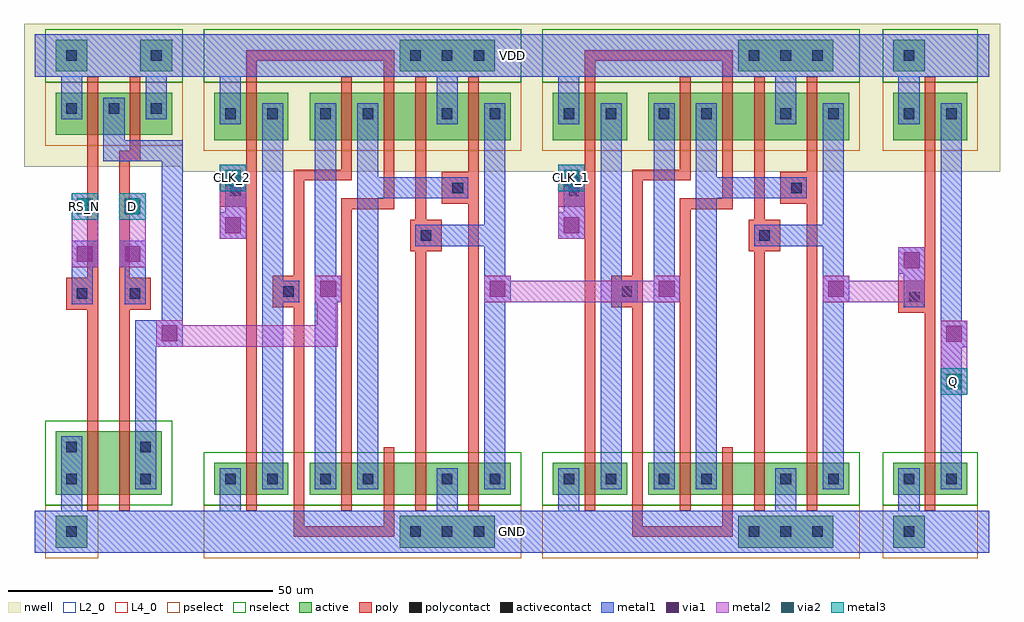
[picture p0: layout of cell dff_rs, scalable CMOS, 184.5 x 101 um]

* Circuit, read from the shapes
.subckt dff_rs CLK_1 CLK_2 D GND Q RS_N VDD
M1 n1 RS_N GND GND nfet w=12u l=2u
M2 latch_rs_1/D D n1 GND nfet w=12u l=2u
M3 n2 CLK_2 GND GND nfet w=6u l=2u
M4 n3 CLK_2 latch_rs_1/D GND nfet w=6u l=2u
M5 n4 n2 n3 GND nfet w=6u l=2u
M6 GND latch_rs_2/D n4 GND nfet w=6u l=2u
M7 latch_rs_2/D n3 GND GND nfet w=6u l=2u
M8 n5 CLK_1 GND GND nfet w=6u l=2u
M9 n6 CLK_1 latch_rs_2/D GND nfet w=6u l=2u
M10 n7 n5 n6 GND nfet w=6u l=2u
M11 GND latch_rs_2/Q n7 GND nfet w=6u l=2u
M12 latch_rs_2/Q n6 GND GND nfet w=6u l=2u
M13 Q latch_rs_2/Q GND GND nfet w=6u l=2u
M14 latch_rs_1/D RS_N VDD VDD pfet w=8u l=2u
M15 VDD D latch_rs_1/D VDD pfet w=8u l=2u
M16 n2 CLK_2 VDD VDD pfet w=9u l=2u
M17 n3 n2 latch_rs_1/D VDD pfet w=9u l=2u
M18 n8 CLK_2 n3 VDD pfet w=9u l=2u
M19 VDD latch_rs_2/D n8 VDD pfet w=9u l=2u
M20 latch_rs_2/D n3 VDD VDD pfet w=9u l=2u
M21 n5 CLK_1 VDD VDD pfet w=9u l=2u
M22 n6 n5 latch_rs_2/D VDD pfet w=9u l=2u
M23 n9 CLK_1 n6 VDD pfet w=9u l=2u
M24 VDD latch_rs_2/Q n9 VDD pfet w=9u l=2u
M25 latch_rs_2/Q n6 VDD VDD pfet w=9u l=2u
M26 Q latch_rs_2/Q VDD VDD pfet w=9u l=2u
.ends

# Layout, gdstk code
import gdstk
lib = gdstk.Library(unit=1e-6, precision=1e-09)
def R(c, l, rs):  # rectangles x0, y0, x1, y1
    for r in rs: c.add(gdstk.rectangle(r[:2], r[2:], *l))
def A(c, l, x, y, w, h, nx, ny, dx, dy):  # array of equal rectangles
    R(c, l, [(x+i*dx, y+j*dy, x+i*dx+w, y+j*dy+h) for i in range(nx) for j in range(ny)])
L2_0 = (2, 0)
L4_0 = (4, 0)
nwell = (42, 0)
active = (43, 0)
pselect = (44, 0)
nselect = (45, 0)
poly = (46, 0)
polycontact = (47, 0)
activecontact = (48, 0)
metal1 = (49, 0)
via1 = (50, 0)
metal2 = (51, 0)
via2 = (61, 0)
metal3 = (62, 0)

nand2 = lib.new_cell('nand2')
R(nand2, nwell, [(402,-492,436,-465)])
R(nand2, active, [(408,-564,414,-558), (408,-554,428,-548), (408,-548,428,-542), (408,-486,430,-484), (408,-484,430,-478), (408,-474,414,-468), (424,-474,430,-468)])
R(nand2, pselect, [(406,-566,416,-556), (406,-488,432,-476)])
R(nand2, nselect, [(406,-556,430,-540), (406,-476,432,-466)])
R(nand2, poly, [(414,-557,416,-545), (420,-557,422,-545), (410,-519,416,-513), (420,-519,426,-513), (414,-489,416,-475), (422,-489,424,-475)])
R(nand2, polycontact, [(412,-517,414,-515), (422,-517,424,-515)])
A(nand2, activecontact, 410, -482, 2, 2, 3, 1, 8, 0)
R(nand2, activecontact, [(410,-562,412,-560), (410,-552,412,-550), (424,-552,426,-550), (410,-546,412,-544), (424,-546,426,-544), (410,-472,412,-470), (426,-472,428,-470)])
A(nand2, metal1, 409, -483, 4, 4, 3, 1, 8, 0)
R(nand2, metal1, [(404,-565,434,-557), (409,-563,413,-559), (409,-553,413,-549), (423,-553,427,-549), (409,-547,413,-543), (423,-547,427,-543), (427,-526,432,-521), (411,-518,415,-514), (421,-518,425,-514), (411,-511,416,-506), (420,-511,425,-506), (404,-475,434,-467), (409,-473,413,-469), (425,-473,429,-469)])
R(nand2, via1, [(428,-525,431,-522), (412,-510,415,-507), (421,-510,424,-507)])
R(nand2, metal2, [(427,-526,432,-521), (411,-511,416,-506), (420,-511,425,-506)])
nand2.add(gdstk.FlexPath([(425,-543),(425,-521)], 4, ends="flush", simple_path=True, layer=49, datatype=0))  # metal1
nand2.add(gdstk.FlexPath([(430,-517),(430,-497)], 4, ends="flush", simple_path=True, layer=49, datatype=0))  # metal1
nand2.add(gdstk.FlexPath([(417,-489),(432,-489)], 4, ends="flush", simple_path=True, layer=49, datatype=0))  # metal1
nand2.add(gdstk.FlexPath([(419,-483),(419,-487)], 4, ends="flush", simple_path=True, layer=49, datatype=0))  # metal1
nand2.add(gdstk.FlexPath([(430,-491),(430,-497)], 4, ends="flush", simple_path=True, layer=49, datatype=0))  # metal1
nand2.add(gdstk.FlexPath([(423,-514),(423,-511)], 4, ends="flush", simple_path=True, layer=49, datatype=0))  # metal1
nand2.add(gdstk.FlexPath([(413,-514),(413,-511)], 4, ends="flush", simple_path=True, layer=49, datatype=0))  # metal1
nand2.add(gdstk.FlexPath([(411,-473),(411,-479)], 4, ends="flush", simple_path=True, layer=49, datatype=0))  # metal1
nand2.add(gdstk.FlexPath([(427,-473),(427,-479)], 4, ends="flush", simple_path=True, layer=49, datatype=0))  # metal1
nand2.add(gdstk.FlexPath([(430,-517),(430,-521)], 4, ends="flush", simple_path=True, layer=49, datatype=0))  # metal1
nand2.add(gdstk.FlexPath([(411,-553),(411,-559)], 4, ends="flush", simple_path=True, layer=49, datatype=0))  # metal1
nand2.add(gdstk.FlexPath([(425,-549),(425,-547)], 4, ends="flush", simple_path=True, layer=49, datatype=0))  # metal1
nand2.add(gdstk.FlexPath([(411,-549),(411,-547)], 4, ends="flush", simple_path=True, layer=49, datatype=0))  # metal1
nand2.add(gdstk.FlexPath([(415,-489),(415,-545)], 2, ends="flush", simple_path=True, layer=46, datatype=0))  # poly
nand2.add(gdstk.FlexPath([(421,-545),(421,-491)], 2, ends="flush", simple_path=True, layer=46, datatype=0))  # poly
nand2.add(gdstk.FlexPath([(420,-490),(424,-490)], 2, ends="flush", simple_path=True, layer=46, datatype=0))  # poly
nand2.add(gdstk.Label('VA', (413.5,-508.5), layer=51, texttype=0))
nand2.add(gdstk.Label('VB', (422.5,-508.5), layer=51, texttype=0))
nand2.add(gdstk.Label('VOUT', (429.5,-523.5), layer=51, texttype=0))
nand2.add(gdstk.Label('VDD', (419,-471), layer=49, texttype=0))
nand2.add(gdstk.Label('GND', (419,-561), layer=49, texttype=0))

latch_rs = lib.new_cell('latch_rs')
R(latch_rs, nwell, [(72,141.6,140,169.6)])
A(latch_rs, active, 113, 70.6, 6, 6, 3, 2, 6, 90)
R(latch_rs, active, [(78,80.6,92,86.6), (96,80.6,134,86.6), (78,147.6,92,150.6), (96,147.6,134,150.6), (78,150.6,92,156.6), (96,150.6,134,156.6)])
R(latch_rs, pselect, [(76,68.6,136,78.6), (76,145.6,94,158.6), (94,145.6,136,158.6)])
R(latch_rs, nselect, [(76,78.6,94,88.6), (94,78.6,136,88.6), (76,158.6,136,168.6)])
R(latch_rs, poly, [(84,77.6,86,89.6), (102,77.6,104,89.6), (110,77.6,112,89.6), (116,77.6,118,89.6), (126,77.6,128,89.6), (89,116,95,122), (115,126.6,121,132.6), (79,135,85,141), (121,135.6,127,141.6), (84,141.6,86,159.6), (102,147.6,104,159.6), (110,147.6,112,159.6), (116,147.6,118,159.6), (126,147.6,128,159.6)])
R(latch_rs, polycontact, [(91,118,93,120), (117,128.6,119,130.6), (81,137,83,139), (123,137.6,125,139.6)])
A(latch_rs, activecontact, 115, 72.6, 2, 2, 3, 2, 6, 90)
R(latch_rs, activecontact, [(80,82.6,82,84.6), (88,82.6,90,84.6), (98,82.6,100,84.6), (106,82.6,108,84.6), (121,82.6,123,84.6), (130,82.6,132,84.6), (80,151.6,82,153.6), (88,151.6,90,153.6), (98,151.6,100,153.6), (106,151.6,108,153.6), (121,151.6,123,153.6), (130,151.6,132,153.6)])
A(latch_rs, metal1, 114, 71.6, 4, 4, 3, 2, 6, 90)
R(latch_rs, metal1, [(74,69.6,138,77.6), (79,81.6,83,85.6), (87,81.6,91,85.6), (97,81.6,101,85.6), (105,81.6,109,85.6), (120,81.6,124,85.6), (129,81.6,133,85.6), (97,117,102,122), (129,117,134,122), (116,127.6,120,131.6), (79,129,84,134), (80,136,84,140), (122,136.6,126,140.6), (79,150.6,83,154.6), (87,150.6,91,154.6), (97,150.6,101,154.6), (105,150.6,109,154.6), (120,150.6,124,154.6), (129,150.6,133,154.6), (74,159.6,138,167.6)])
R(latch_rs, via1, [(98,118,101,121), (130,118,133,121), (80,130,83,133)])
R(latch_rs, metal2, [(97,117,102,122), (129,117,134,122), (79,129,84,134)])
latch_rs.add(gdstk.FlexPath([(89,145.6),(89,150.6)], 4, ends="flush", simple_path=True, layer=49, datatype=0))  # metal1
latch_rs.add(gdstk.FlexPath([(99,145.6),(99,150.6)], 4, ends="flush", simple_path=True, layer=49, datatype=0))  # metal1
latch_rs.add(gdstk.FlexPath([(107,145.6),(107,150.6)], 4, ends="flush", simple_path=True, layer=49, datatype=0))  # metal1
latch_rs.add(gdstk.FlexPath([(81,154.5),(81,160)], 4, ends="flush", simple_path=True, layer=49, datatype=0))  # metal1
latch_rs.add(gdstk.FlexPath([(89,108.6),(89,85.6)], 4, ends="flush", simple_path=True, layer=49, datatype=0))  # metal1
latch_rs.add(gdstk.FlexPath([(122,138.6),(109,138.6)], 4, ends="flush", simple_path=True, layer=49, datatype=0))  # metal1
latch_rs.add(gdstk.FlexPath([(89,108.5),(89,146)], 4, ends="flush", simple_path=True, layer=49, datatype=0))  # metal1
latch_rs.add(gdstk.FlexPath([(99,108.5),(99,146)], 4, ends="flush", simple_path=True, layer=49, datatype=0))  # metal1
latch_rs.add(gdstk.FlexPath([(82,136),(82,134)], 4, ends="flush", simple_path=True, layer=49, datatype=0))  # metal1
latch_rs.add(gdstk.FlexPath([(131,108.5),(131,146)], 4, ends="flush", simple_path=True, layer=49, datatype=0))  # metal1
latch_rs.add(gdstk.FlexPath([(131,108.6),(131,85.6)], 4, ends="flush", simple_path=True, layer=49, datatype=0))  # metal1
latch_rs.add(gdstk.FlexPath([(107,108.6),(107,85.6)], 4, ends="flush", simple_path=True, layer=49, datatype=0))  # metal1
latch_rs.add(gdstk.FlexPath([(91,119),(94,119)], 4, ends="flush", simple_path=True, layer=49, datatype=0))  # metal1
latch_rs.add(gdstk.FlexPath([(122,81.6),(122,75.6)], 4, ends="flush", simple_path=True, layer=49, datatype=0))  # metal1
latch_rs.add(gdstk.FlexPath([(131,145.6),(131,150.6)], 4, ends="flush", simple_path=True, layer=49, datatype=0))  # metal1
latch_rs.add(gdstk.FlexPath([(120,129.6),(129,129.6)], 4, ends="flush", simple_path=True, layer=49, datatype=0))  # metal1
latch_rs.add(gdstk.FlexPath([(81,75.6),(81,81.6)], 4, ends="flush", simple_path=True, layer=49, datatype=0))  # metal1
latch_rs.add(gdstk.FlexPath([(122,154.5),(122,160)], 4, ends="flush", simple_path=True, layer=49, datatype=0))  # metal1
latch_rs.add(gdstk.FlexPath([(99,108.6),(99,85.6)], 4, ends="flush", simple_path=True, layer=49, datatype=0))  # metal1
latch_rs.add(gdstk.FlexPath([(107,108.5),(107,146)], 4, ends="flush", simple_path=True, layer=49, datatype=0))  # metal1
latch_rs.add(gdstk.FlexPath([(103,147.6),(103,141.6)], 2, ends="flush", simple_path=True, layer=46, datatype=0))  # poly
latch_rs.add(gdstk.FlexPath([(117,141.6),(117,127.6)], 2, ends="flush", simple_path=True, layer=46, datatype=0))  # poly
latch_rs.add(gdstk.FlexPath([(85,89.5),(85,127)], 2, ends="flush", simple_path=True, layer=46, datatype=0))  # poly
latch_rs.add(gdstk.FlexPath([(117,89.5),(117,127)], 2, ends="flush", simple_path=True, layer=46, datatype=0))  # poly
latch_rs.add(gdstk.FlexPath([(85,141.6),(85,126.6)], 2, ends="flush", simple_path=True, layer=46, datatype=0))  # poly
latch_rs.add(gdstk.FlexPath([(85,159.6),(85,163.6),(111,163.6),(111,159.6)], 2, ends="flush", simple_path=True, layer=46, datatype=0))  # poly
latch_rs.add(gdstk.FlexPath([(94,104.5),(94,141.5)], 2, ends="flush", simple_path=True, layer=46, datatype=0))  # poly
latch_rs.add(gdstk.FlexPath([(111,147.6),(111,141.6)], 2, ends="flush", simple_path=True, layer=46, datatype=0))  # poly
latch_rs.add(gdstk.FlexPath([(103,128),(103,89.5)], 2, ends="flush", simple_path=True, layer=46, datatype=0))  # poly
latch_rs.add(gdstk.FlexPath([(94,104.6),(94,73.6),(111,73.6),(111,77.6)], 2, ends="flush", simple_path=True, layer=46, datatype=0))  # poly
latch_rs.add(gdstk.FlexPath([(117,147.6),(117,141.6)], 2, ends="flush", simple_path=True, layer=46, datatype=0))  # poly
latch_rs.add(gdstk.FlexPath([(127,141.6),(127,127.6)], 2, ends="flush", simple_path=True, layer=46, datatype=0))  # poly
latch_rs.add(gdstk.FlexPath([(111,141.6),(111,135.6),(103,135.6),(103,127.6)], 2, ends="flush", simple_path=True, layer=46, datatype=0))  # poly
latch_rs.add(gdstk.FlexPath([(127,147.6),(127,141.6)], 2, ends="flush", simple_path=True, layer=46, datatype=0))  # poly
latch_rs.add(gdstk.FlexPath([(127,127.6),(127,126.6)], 2, ends="flush", simple_path=True, layer=46, datatype=0))  # poly
latch_rs.add(gdstk.FlexPath([(104,141),(93,141)], 2, ends="flush", simple_path=True, layer=46, datatype=0))  # poly
latch_rs.add(gdstk.FlexPath([(127,127),(127,89.5)], 2, ends="flush", simple_path=True, layer=46, datatype=0))  # poly
latch_rs.add(gdstk.FlexPath([(117,127.6),(117,126.6)], 2, ends="flush", simple_path=True, layer=46, datatype=0))  # poly
latch_rs.add(gdstk.Label('CLK', (81.5,131.5), layer=51, texttype=0))
latch_rs.add(gdstk.Label('D', (99.5,119.5), layer=51, texttype=0))
latch_rs.add(gdstk.Label('Q', (131.5,119.5), layer=51, texttype=0))
latch_rs.add(gdstk.Label('VDD', (106,163.6), layer=49, texttype=0))
latch_rs.add(gdstk.Label('GND', (106,73.6), layer=49, texttype=0))

inv = lib.new_cell('inv')
R(inv, nwell, [(23.3,75.2,49.5,103.2)])
R(inv, active, [(29.3,4.2,35.3,10.2), (29.3,14.2,43.3,20.2), (29.3,81.2,43.3,84.2), (29.3,84.2,43.3,90.2), (29.3,94.2,35.3,100.2)])
R(inv, pselect, [(27.3,2.2,45.3,12.2), (27.3,79.2,45.3,92.2)])
R(inv, nselect, [(27.3,12.2,45.3,22.2), (27.3,92.2,45.3,102.2)])
R(inv, poly, [(35.3,11.2,37.3,23.2), (30.25,48.6,36.25,54.6), (35.3,75.2,37.3,93.2)])
R(inv, polycontact, [(32.3,50.6,34.3,52.6)])
R(inv, activecontact, [(31.3,6.2,33.3,8.2), (31.3,16.2,33.3,18.2), (39.3,16.2,41.3,18.2), (31.3,85.2,33.3,87.2), (39.3,85.2,41.3,87.2), (31.3,96.2,33.3,98.2)])
R(inv, metal1, [(30.3,5.2,34.3,9.2), (30.3,15.2,34.3,19.2), (38.3,15.2,42.3,19.2), (38.3,42.1,43.3,47.1), (31.3,49.6,35.3,53.6), (30.3,56,35.3,61), (30.3,84.2,34.3,88.2), (38.3,84.2,42.3,88.2), (30.3,95.2,34.3,99.2)])
R(inv, via1, [(39.3,43.1,42.3,46.1), (31.3,57,34.3,60)])
R(inv, metal2, [(38.3,42.1,43.3,47.1), (30.3,56,35.3,61)])
inv.add(gdstk.FlexPath([(24.99,97.2),(47.49,97.2)], 8, ends="flush", simple_path=True, layer=49, datatype=0))  # metal1
inv.add(gdstk.FlexPath([(25,7.2),(47.5,7.2)], 8, ends="flush", simple_path=True, layer=49, datatype=0))  # metal1
inv.add(gdstk.FlexPath([(33.3,53.6),(33.3,56)], 4, ends="flush", simple_path=True, layer=49, datatype=0))  # metal1
inv.add(gdstk.FlexPath([(40.3,42.2),(40.3,19.2)], 4, ends="flush", simple_path=True, layer=49, datatype=0))  # metal1
inv.add(gdstk.FlexPath([(32.3,88.2),(32.3,95.2)], 4, ends="flush", simple_path=True, layer=49, datatype=0))  # metal1
inv.add(gdstk.FlexPath([(40.3,79.2),(40.3,84.2)], 4, ends="flush", simple_path=True, layer=49, datatype=0))  # metal1
inv.add(gdstk.FlexPath([(32.3,9.2),(32.3,15.2)], 4, ends="flush", simple_path=True, layer=49, datatype=0))  # metal1
inv.add(gdstk.FlexPath([(40.3,42.1),(40.3,79.6)], 4, ends="flush", simple_path=True, layer=49, datatype=0))  # metal1
inv.add(gdstk.FlexPath([(36.3,75.2),(36.3,60.2)], 2, ends="flush", simple_path=True, layer=46, datatype=0))  # poly
inv.add(gdstk.FlexPath([(36.3,23.1),(36.3,60.6)], 2, ends="flush", simple_path=True, layer=46, datatype=0))  # poly
inv.add(gdstk.Label('VOUT', (40.8,44.6), layer=51, texttype=0))
inv.add(gdstk.Label('VIN', (32.8,58.5), layer=51, texttype=0))
inv.add(gdstk.Label('VDD', (36.24,97.2), layer=49, texttype=0))
inv.add(gdstk.Label('GND', (36.25,7.2), layer=49, texttype=0))
inv.add(gdstk.Label('VIN', (32.8,58.5), layer=3, texttype=0))
inv.add(gdstk.Label('VOUT', (40.8,44.6), layer=3, texttype=0))

dff_rs = lib.new_cell('dff_rs')
R(dff_rs, L2_0, [(-2030.3,-1377,-1849.8,-1369), (-2030.3,-1287,-1849.8,-1279)])
R(dff_rs, L4_0, [(-1859,-1347.1,-1854,-1342.1), (-2023.3,-1314,-2018.3,-1309), (-2014.3,-1314,-2009.3,-1309), (-1995.3,-1308.6,-1990.3,-1303.6), (-1931.3,-1308.6,-1926.3,-1303.6)])
R(dff_rs, metal1, [(-2030.3,-1377,-1849.8,-1369), (-2030.3,-1287,-1849.8,-1279)])
R(dff_rs, metal2, [(-1859,-1347.1,-1854,-1338.1), (-1977.3,-1329.6,-1972.3,-1324.6), (-2023.3,-1318,-2018.3,-1309), (-2014.3,-1318,-2009.3,-1309), (-1995.3,-1312.6,-1990.3,-1303.6), (-1931.3,-1312.6,-1926.3,-1303.6)])
R(dff_rs, via2, [(-1858,-1346.1,-1855,-1343.1), (-2022.3,-1313,-2019.3,-1310), (-2013.3,-1313,-2010.3,-1310), (-1994.3,-1307.6,-1991.3,-1304.6), (-1930.3,-1307.6,-1927.3,-1304.6)])
R(dff_rs, metal3, [(-1859,-1347.1,-1854,-1342.1), (-2023.3,-1314,-2018.3,-1309), (-2014.3,-1314,-2009.3,-1309), (-1995.3,-1308.6,-1990.3,-1303.6), (-1931.3,-1308.6,-1926.3,-1303.6)])
dff_rs.add(gdstk.FlexPath([(-1864.5,-1321.68),(-1864.5,-1329.6)], 5, ends="flush", simple_path=True, layer=51, datatype=0))  # metal2
dff_rs.add(gdstk.FlexPath([(-1942.3,-1327.6),(-1911.3,-1327.6)], 4, ends="flush", simple_path=True, layer=51, datatype=0))  # metal2
dff_rs.add(gdstk.FlexPath([(-2005,-1336),(-1975,-1336),(-1975,-1327)], 4, ends="flush", simple_path=True, layer=51, datatype=0))  # metal2
dff_rs.add(gdstk.FlexPath([(-1878.3,-1327.6),(-1862.3,-1327.6)], 4, ends="flush", simple_path=True, layer=51, datatype=0))  # metal2
dff_rs.add(gdstk.Reference(nand2, (-2434.3,-812)))
dff_rs.add(gdstk.Reference(latch_rs, (-2074.3,-1446.6)))
dff_rs.add(gdstk.Reference(latch_rs, (-2010.3,-1446.6)))
dff_rs.add(gdstk.Reference(inv, (-1897.3,-1380.2)))
dff_rs.add(gdstk.Label('GND', (-1940.05,-1373), layer=2, texttype=0))
dff_rs.add(gdstk.Label('Q', (-1856.5,-1344.6), layer=62, texttype=0))
dff_rs.add(gdstk.Label('Q', (-1856.5,-1344.6), layer=4, texttype=0))
dff_rs.add(gdstk.Label('VDD', (-1940.05,-1283), layer=2, texttype=0))
dff_rs.add(gdstk.Label('RS_N', (-2020.8,-1311.5), layer=62, texttype=0))
dff_rs.add(gdstk.Label('D', (-2011.8,-1311.5), layer=62, texttype=0))
dff_rs.add(gdstk.Label('CLK_2', (-1992.8,-1306.1), layer=62, texttype=0))
dff_rs.add(gdstk.Label('CLK_1', (-1928.8,-1306.1), layer=62, texttype=0))
dff_rs.add(gdstk.Label('RS_N', (-2020.8,-1311.5), layer=4, texttype=0))
dff_rs.add(gdstk.Label('D', (-2011.8,-1311.5), layer=4, texttype=0))
dff_rs.add(gdstk.Label('CLK_2', (-1992.8,-1306.1), layer=4, texttype=0))
dff_rs.add(gdstk.Label('CLK_1', (-1928.8,-1306.1), layer=4, texttype=0))

lib.write_gds('dff_rs.gds')
